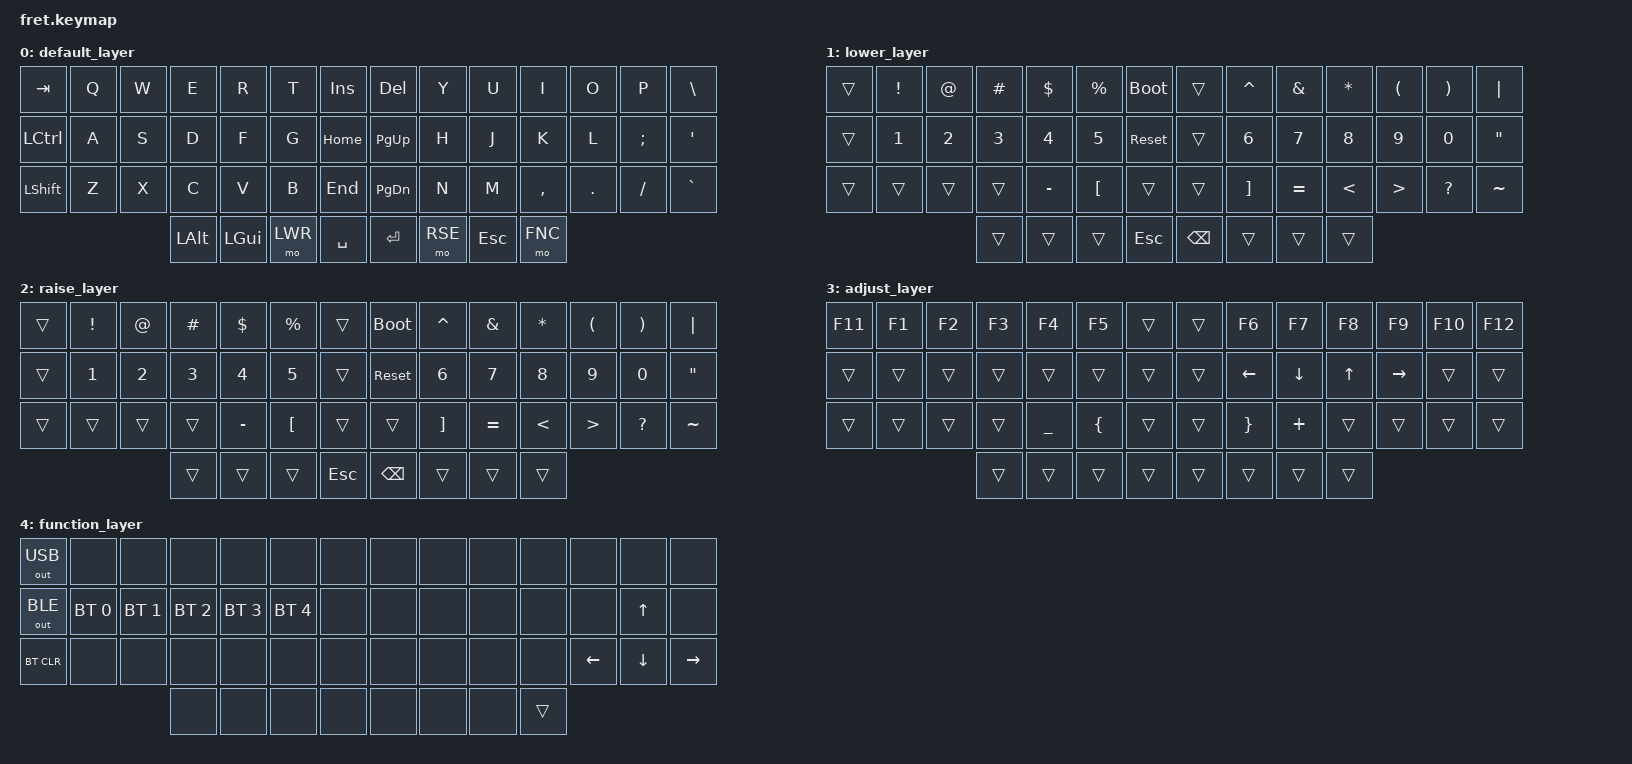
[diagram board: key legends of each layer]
#include <behaviors.dtsi>
#include <dt-bindings/zmk/keys.h>
#include <dt-bindings/zmk/bt.h>
#include <dt-bindings/zmk/outputs.h>


#define DEF 0
#define LWR 1
#define RSE 2
#define ADJ 3
#define FNC 4

/ {
    conditional_layers {
        compatible = "zmk,conditional-layers";
        tri_layer {
            if-layers = <LWR RSE>;
            then-layer = <ADJ>;
        };
    };
};

/ {
    keymap {
        compatible = "zmk,keymap";

        default_layer {
            bindings = <
    &kp TAB   &kp Q &kp W &kp E    &kp R    &kp T   &kp INS      &kp DEL   &kp Y   &kp U   &kp I     &kp O   &kp P    &kp BSLH
    &kp LCTRL &kp A &kp S &kp D    &kp F    &kp G   &kp HOME     &kp PG_UP &kp H   &kp J   &kp K     &kp L   &kp SEMI &kp SQT
    &kp LSHFT &kp Z &kp X &kp C    &kp V    &kp B   &kp END      &kp PG_DN &kp N   &kp M   &kp COMMA &kp DOT &kp FSLH &kp GRAVE
                          &kp LALT &kp LGUI &mo LWR &kp SPACE    &kp RET   &mo RSE &kp ESC &mo FNC
            >;
        };

        lower_layer {
            bindings = <
    &trans &kp EXCL &kp AT &kp HASH &kp DLLR  &kp PRCNT &bootloader    &trans   &kp CARET &kp AMPS &kp STAR &kp LPAR &kp RPAR  &kp PIPE
    &trans &kp N1   &kp N2 &kp N3   &kp N4    &kp N5    &sys_reset     &trans   &kp N6    &kp N7   &kp N8   &kp N9   &kp N0    &kp DQT
    &trans &trans   &trans &trans   &kp MINUS &kp LBKT  &trans         &trans   &kp RBKT  &kp EQL  &kp LT   &kp GT   &kp QMARK &kp TILDE
                           &trans   &trans    &trans    &kp ESC        &kp BSPC &trans    &trans   &trans
            >;
        };

        raise_layer {
            bindings = <
    &trans &kp EXCL &kp AT &kp HASH &kp DLLR  &kp PRCNT &trans     &bootloader &kp CARET &kp AMPS &kp STAR &kp LPAR &kp RPAR  &kp PIPE
    &trans &kp N1   &kp N2 &kp N3   &kp N4    &kp N5    &trans     &sys_reset  &kp N6    &kp N7   &kp N8   &kp N9   &kp N0    &kp DQT
    &trans &trans   &trans &trans   &kp MINUS &kp LBKT  &trans     &trans      &kp RBKT  &kp EQL  &kp LT   &kp GT   &kp QMARK &kp TILDE
                           &trans   &trans    &trans    &kp ESC    &kp BSPC    &trans    &trans   &trans
            >;
        };

        adjust_layer {
            bindings = <
    &kp F11 &kp F1 &kp F2 &kp F3 &kp F4    &kp F5   &trans    &trans &kp F6   &kp F7   &kp F8 &kp F9    &kp F10 &kp F12
    &trans  &trans &trans &trans &trans    &trans   &trans    &trans &kp LEFT &kp DOWN &kp UP &kp RIGHT &trans  &trans
    &trans  &trans &trans &trans &kp UNDER &kp LBRC &trans    &trans &kp RBRC &kp PLUS &trans &trans    &trans  &trans
                          &trans &trans    &trans   &trans    &trans &trans   &trans   &trans
            >;
        };

        function_layer {
            bindings = <
    &out OUT_USB &none        &none        &none        &none        &none        &none    &none &none &none &none &none    &none    &none
    &out OUT_BLE &bt BT_SEL 0 &bt BT_SEL 1 &bt BT_SEL 2 &bt BT_SEL 3 &bt BT_SEL 4 &none    &none &none &none &none &none    &kp UP   &none
    &bt BT_CLR   &none        &none        &none        &none        &none        &none    &none &none &none &none &kp LEFT &kp DOWN &kp RIGHT
                                           &none        &none        &none        &none    &none &none &none &trans
            >;
        };
    };
};
